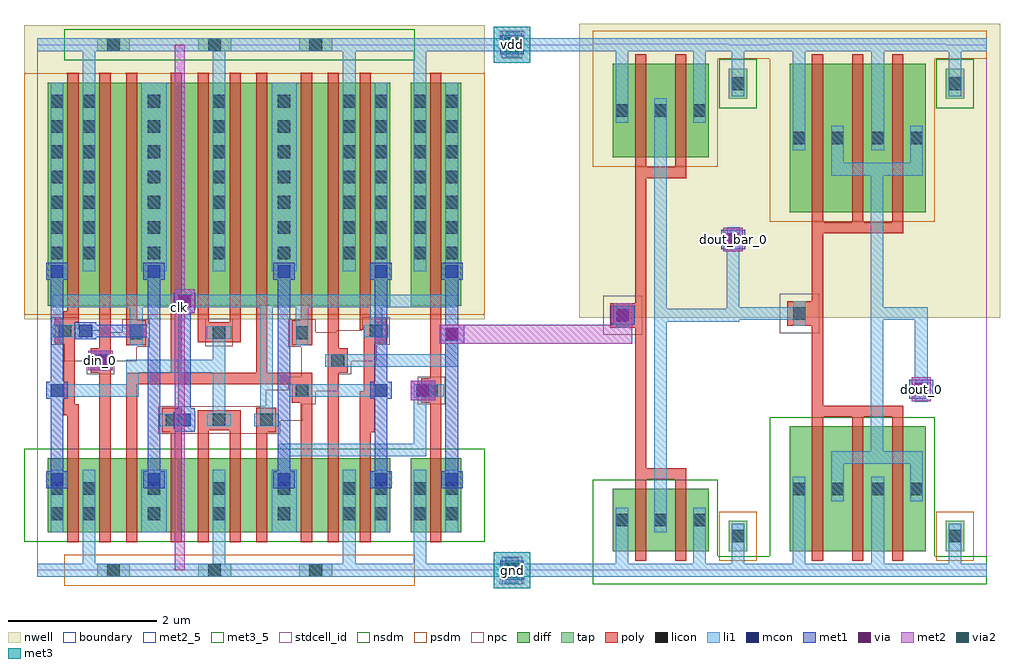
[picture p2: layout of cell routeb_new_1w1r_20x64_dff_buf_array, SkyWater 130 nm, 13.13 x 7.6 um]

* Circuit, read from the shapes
.subckt routeb_new_1w1r_20x64_dff_buf_array clk din_0 dout_0 dout_bar_0 gnd vdd
XM1 gnd n1 n2 gnd sky130_fd_pr__nfet_01v8 w=1 l=0.15
XM2 n3 din_0 gnd gnd sky130_fd_pr__nfet_01v8 w=1 l=0.15
XM3 n1 n4 n3 gnd sky130_fd_pr__nfet_01v8 w=1 l=0.15
XM4 n5 clk n1 gnd sky130_fd_pr__nfet_01v8 w=1 l=0.15
XM5 gnd n2 n5 gnd sky130_fd_pr__nfet_01v8 w=1 l=0.15
XM6 n6 n2 gnd gnd sky130_fd_pr__nfet_01v8 w=1 l=0.15
XM7 routeb_new_1w1r_20x64_dff_buf_0_0/sky130_fd_bd_sram__openram_dff_0/QN clk n6 gnd sky130_fd_pr__nfet_01v8 w=1 l=0.15
XM8 n7 n4 routeb_new_1w1r_20x64_dff_buf_0_0/sky130_fd_bd_sram__openram_dff_0/QN gnd sky130_fd_pr__nfet_01v8 w=1 l=0.15
XM9 gnd routeb_new_1w1r_20x64_dff_buf_0_0/routeb_new_1w1r_20x64_pinv_1/A n7 gnd sky130_fd_pr__nfet_01v8 w=1 l=0.15
XM10 n4 clk gnd gnd sky130_fd_pr__nfet_01v8 w=1 l=0.15
XM11 routeb_new_1w1r_20x64_dff_buf_0_0/routeb_new_1w1r_20x64_pinv_1/A routeb_new_1w1r_20x64_dff_buf_0_0/sky130_fd_bd_sram__openram_dff_0/QN gnd gnd sky130_fd_pr__nfet_01v8 w=1 l=0.15
XM12 dout_bar_0 routeb_new_1w1r_20x64_dff_buf_0_0/routeb_new_1w1r_20x64_pinv_1/A gnd gnd sky130_fd_pr__nfet_01v8 w=0.84 l=0.15 m=2
XM13 dout_0 dout_bar_0 gnd gnd sky130_fd_pr__nfet_01v8 w=1.68 l=0.15 m=3
XM14 vdd n1 n2 vdd sky130_fd_pr__pfet_01v8 w=3 l=0.15
XM15 n8 din_0 vdd vdd sky130_fd_pr__pfet_01v8 w=3 l=0.15
XM16 n1 clk n8 vdd sky130_fd_pr__pfet_01v8 w=3 l=0.15
XM17 n9 n4 n1 vdd sky130_fd_pr__pfet_01v8 w=3 l=0.15
XM18 vdd n2 n9 vdd sky130_fd_pr__pfet_01v8 w=3 l=0.15
XM19 n10 n2 vdd vdd sky130_fd_pr__pfet_01v8 w=3 l=0.15
XM20 routeb_new_1w1r_20x64_dff_buf_0_0/sky130_fd_bd_sram__openram_dff_0/QN n4 n10 vdd sky130_fd_pr__pfet_01v8 w=3 l=0.15
XM21 n11 clk routeb_new_1w1r_20x64_dff_buf_0_0/sky130_fd_bd_sram__openram_dff_0/QN vdd sky130_fd_pr__pfet_01v8 w=3 l=0.15
XM22 vdd routeb_new_1w1r_20x64_dff_buf_0_0/routeb_new_1w1r_20x64_pinv_1/A n11 vdd sky130_fd_pr__pfet_01v8 w=3 l=0.15
XM23 n4 clk vdd vdd sky130_fd_pr__pfet_01v8 w=3 l=0.15
XM24 routeb_new_1w1r_20x64_dff_buf_0_0/routeb_new_1w1r_20x64_pinv_1/A routeb_new_1w1r_20x64_dff_buf_0_0/sky130_fd_bd_sram__openram_dff_0/QN vdd vdd sky130_fd_pr__pfet_01v8 w=3 l=0.15
XM25 dout_bar_0 routeb_new_1w1r_20x64_dff_buf_0_0/routeb_new_1w1r_20x64_pinv_1/A vdd vdd sky130_fd_pr__pfet_01v8 w=1.26 l=0.15 m=2
XM26 dout_0 dout_bar_0 vdd vdd sky130_fd_pr__pfet_01v8 w=2 l=0.15 m=3
.ends

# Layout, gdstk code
import gdstk
lib = gdstk.Library(unit=1e-6, precision=1e-09)
def R(c, l, rs):  # rectangles x0, y0, x1, y1
    for r in rs: c.add(gdstk.rectangle(r[:2], r[2:], *l))
def A(c, l, x, y, w, h, nx, ny, dx, dy):  # array of equal rectangles
    R(c, l, [(x+i*dx, y+j*dy, x+i*dx+w, y+j*dy+h) for i in range(nx) for j in range(ny)])
nwell = (64, 20)
diff = (65, 20)
tap = (65, 44)
poly = (66, 20)
licon = (66, 44)
li1 = (67, 20)
mcon = (67, 44)
met1 = (68, 20)
via = (68, 44)
met2_5 = (69, 5)
met2 = (69, 20)
via2 = (69, 44)
met3_5 = (70, 5)
met3 = (70, 20)
stdcell_id = (81, 4)
nsdm = (93, 44)
psdm = (94, 20)
npc = (95, 20)
boundary = (235, 4)

sky130_fd_bd_sram__openr = lib.new_cell('sky130_fd_bd_sram__openram_dff')
R(sky130_fd_bd_sram__openr, nwell, [(-0.18,3.38,6.02,7.335)])
R(sky130_fd_bd_sram__openr, diff, [(0.14,0.51,4.75,1.51), (5.02,0.51,5.7,1.51), (0.14,3.56,4.75,6.56), (5.02,3.56,5.7,6.56)])
A(sky130_fd_bd_sram__openr, tap, 0.805, -0.085, 0.44, 0.17, 3, 2, 1.36, 7.07)
R(sky130_fd_bd_sram__openr, poly, [(0.405,0.38,0.555,2.085), (0.835,0.38,0.985,2.655), (1.195,0.38,1.345,2.505), (1.795,0.38,1.945,1.855), (2.155,0.38,2.305,1.885), (2.585,0.38,2.735,1.885), (2.945,0.38,3.095,1.855), (3.545,0.38,3.695,2.255), (3.905,0.38,4.055,2.655), (4.335,0.38,4.485,1.855), (5.285,0.38,5.435,2.255), (1.675,1.855,1.945,2.185), (2.945,1.855,3.215,2.185), (4.335,1.855,4.54,2.405), (2.155,1.885,2.735,2.155), (0.355,2.085,0.555,2.235), (0.355,2.235,0.505,3.055), (3.425,2.255,3.695,2.505), (5.165,2.255,5.435,2.585), (4.39,2.405,4.54,3.055), (1.195,2.505,3.695,2.655), (5.285,2.585,5.435,6.69), (0.715,2.655,0.985,2.985), (1.795,2.655,1.945,6.69), (2.945,2.655,3.095,6.69), (3.905,2.655,4.175,2.985), (0.835,2.985,0.985,6.69), (3.905,2.985,4.055,6.69), (1.195,3.03,1.465,3.36), (3.425,3.03,3.695,3.36), (0.235,3.055,0.505,3.335), (4.39,3.055,4.69,3.235), (2.155,3.065,2.735,3.335), (4.335,3.235,4.69,3.385), (0.235,3.335,0.555,3.385), (2.155,3.335,2.305,6.69), (2.585,3.335,2.735,6.69), (1.195,3.36,1.345,6.69), (3.545,3.36,3.695,6.69), (0.35,3.385,0.555,3.485), (4.335,3.385,4.485,6.69), (0.405,3.485,0.555,6.69)])
A(sky130_fd_bd_sram__openr, licon, 0.94, -0.085, 0.17, 0.17, 3, 2, 1.36, 7.07)
A(sky130_fd_bd_sram__openr, licon, 0.61, 0.675, 0.17, 0.17, 5, 2, 0.875, 0.34)
A(sky130_fd_bd_sram__openr, licon, 1.725, 1.935, 0.17, 0.17, 3, 1, 0.635, 0)
A(sky130_fd_bd_sram__openr, licon, 0.18, 4.185, 0.17, 0.17, 1, 7, 0, 0.34)
A(sky130_fd_bd_sram__openr, licon, 0.61, 4.185, 0.17, 0.17, 5, 7, 0.875, 0.34)
A(sky130_fd_bd_sram__openr, licon, 4.54, 4.185, 0.17, 0.17, 1, 7, 0, 0.34)
A(sky130_fd_bd_sram__openr, licon, 5.06, 4.185, 0.17, 0.17, 1, 7, 0, 0.34)
A(sky130_fd_bd_sram__openr, licon, 5.49, 4.185, 0.17, 0.17, 1, 7, 0, 0.34)
R(sky130_fd_bd_sram__openr, licon, [(0.18,0.675,0.35,0.845), (4.54,0.675,4.71,0.845), (5.06,0.675,5.23,0.845), (5.49,0.675,5.66,0.845), (0.18,1.015,0.35,1.185), (4.54,1.015,4.71,1.185), (5.06,1.015,5.23,1.185), (5.49,1.015,5.66,1.185), (3.475,2.335,3.645,2.505), (5.215,2.335,5.385,2.505), (0.765,2.735,0.935,2.905), (3.955,2.735,4.125,2.905), (1.245,3.11,1.415,3.28), (3.475,3.11,3.645,3.28), (2.36,3.115,2.53,3.285), (0.285,3.135,0.455,3.305), (4.47,3.135,4.64,3.305)])
A(sky130_fd_bd_sram__openr, li1, 0.61, 0.09, 0.17, 1.26, 3, 1, 1.75, 0)
A(sky130_fd_bd_sram__openr, li1, 0.61, 4.02, 0.17, 2.96, 3, 1, 1.75, 0)
R(sky130_fd_bd_sram__openr, li1, [(0,-0.09,5.84,0.09), (0,-0.09,5.84,0.09), (5.06,0.09,5.23,1.35), (0.18,0.51,0.35,1.35), (1.4,0.51,1.74,1.35), (3.15,0.51,3.49,1.35), (4.54,0.51,4.71,1.355), (5.49,0.51,5.66,1.355), (3.235,1.35,3.405,1.535), (3.235,1.535,5.23,1.705), (5.06,1.705,5.23,2.335), (1.64,1.935,2.065,2.105), (2.28,1.935,2.61,2.105), (2.915,1.935,3.245,2.105), (2.36,2.105,2.53,2.66), (2.995,2.105,3.165,3.535), (0.18,2.335,1.365,2.505), (3.395,2.335,4.71,2.505), (5.06,2.335,5.465,2.505), (1.195,2.505,1.365,2.66), (1.195,2.66,2.53,2.83), (0.685,2.735,1.015,2.905), (3.875,2.735,5.66,2.905), (2.36,2.83,2.53,3.115), (5.49,2.905,5.66,3.26), (1.245,3.03,1.415,3.535), (3.475,3.03,3.645,3.535), (2.28,3.115,2.61,3.285), (0.205,3.135,0.735,3.305), (4.39,3.135,4.72,3.305), (4.47,3.305,4.64,3.535), (0.205,3.535,5.66,3.705), (0.18,3.935,0.35,6.56), (1.485,3.935,1.655,4.02), (3.235,3.935,3.405,4.02), (4.54,3.935,4.71,6.56), (5.49,3.935,5.66,6.56), (1.4,4.02,1.74,6.56), (3.15,4.02,3.49,6.56), (5.06,4.02,5.23,6.98), (0,6.98,5.84,7.16), (0,6.98,5.84,7.16), (0,6.98,5.84,7.16)])
R(sky130_fd_bd_sram__openr, mcon, [(0.18,1.135,0.35,1.305), (1.485,1.135,1.655,1.305), (3.235,1.135,3.405,1.305), (4.54,1.135,4.71,1.305), (5.49,1.135,5.66,1.305), (1.895,1.935,2.065,2.105), (0.18,2.335,0.35,2.505), (4.54,2.335,4.71,2.505), (5.1,2.335,5.27,2.505), (0.765,2.735,0.935,2.905), (5.49,3.09,5.66,3.26), (0.565,3.135,0.735,3.305), (1.895,3.535,2.065,3.705), (0.18,3.935,0.35,4.105), (1.485,3.935,1.655,4.105), (3.235,3.935,3.405,4.105), (4.54,3.935,4.71,4.105), (5.49,3.935,5.66,4.105)])
R(sky130_fd_bd_sram__openr, met1, [(0.12,1.105,0.41,1.335), (1.425,1.105,1.715,1.335), (3.175,1.105,3.465,1.335), (4.48,1.105,4.77,1.335), (5.43,1.105,5.72,1.335), (0.18,1.335,0.35,2.305), (1.485,1.335,1.655,3.135), (3.235,1.335,3.405,3.905), (4.54,1.335,4.71,2.305), (5.49,1.335,5.66,3.045), (1.845,1.86,2.115,1.905), (1.835,1.905,2.125,2.135), (1.845,2.135,2.115,2.18), (1.895,2.18,2.065,3.46), (5.02,2.29,5.35,2.55), (0.12,2.305,0.41,2.535), (4.48,2.305,4.77,2.535), (0.18,2.535,0.35,3.905), (4.54,2.535,4.71,3.905), (0.685,2.69,1.015,2.95), (5.41,3.045,5.74,3.305), (0.505,3.105,0.795,3.135), (0.505,3.135,1.655,3.305), (0.505,3.305,0.795,3.335), (1.485,3.305,1.655,3.905), (5.49,3.305,5.66,3.905), (1.845,3.46,2.115,3.505), (1.835,3.505,2.125,3.735), (1.845,3.735,2.115,3.78), (0.12,3.905,0.41,4.135), (1.425,3.905,1.715,4.135), (3.175,3.905,3.465,4.135), (4.48,3.905,4.77,4.135), (5.43,3.905,5.72,4.135)])
R(sky130_fd_bd_sram__openr, via, [(5.11,2.345,5.26,2.495), (0.775,2.745,0.925,2.895), (5.5,3.1,5.65,3.25), (1.905,3.545,2.055,3.695)])
R(sky130_fd_bd_sram__openr, met2_5, [(0.685,2.69,1.015,2.95), (5.41,3.045,5.74,3.305), (1.845,3.46,2.115,3.78)])
R(sky130_fd_bd_sram__openr, met2, [(5.02,2.29,5.35,2.55), (0.685,2.69,1.015,2.95), (0.685,2.69,1.015,2.95), (0.685,2.69,1.015,2.95), (5.41,3.045,5.74,3.305), (5.41,3.045,5.74,3.305), (5.41,3.045,5.74,3.305), (1.845,3.46,2.115,3.78), (1.845,3.46,2.115,3.78), (1.845,3.46,2.115,3.78)])
R(sky130_fd_bd_sram__openr, stdcell_id, [(0,0,5.84,7.07)])
R(sky130_fd_bd_sram__openr, nsdm, [(-0.18,0.385,6.02,1.635), (0.36,6.86,5.075,7.07), (0.36,7.07,5.075,7.28)])
R(sky130_fd_bd_sram__openr, psdm, [(0.36,-0.21,5.075,0), (0.36,0,5.075,0.21), (-0.18,3.435,6.02,6.685)])
R(sky130_fd_bd_sram__openr, npc, [(1.625,1.835,3.265,2.01), (1.625,2.01,3.57,2.205), (3.07,2.205,3.57,2.235), (3.07,2.235,3.745,2.41), (5.115,2.235,5.485,2.605), (3.07,2.41,4.05,2.43), (3.375,2.43,4.05,2.605), (3.55,2.605,4.05,2.635), (0.665,2.635,1.035,2.81), (3.55,2.635,4.225,2.81), (0.36,2.81,1.34,3.01), (3.55,2.81,4.565,3.01), (0.36,3.01,1.515,3.035), (3.375,3.01,4.565,3.035), (2.26,3.015,2.63,3.385), (0.185,3.035,1.515,3.205), (3.375,3.035,4.74,3.205), (0.185,3.205,0.86,3.23), (1.145,3.205,1.515,3.38), (3.375,3.205,3.745,3.38), (4.03,3.205,4.74,3.23), (0.185,3.23,0.555,3.405), (4.37,3.23,4.74,3.405)])
R(sky130_fd_bd_sram__openr, boundary, [(0,0,5.84,7.07)])
sky130_fd_bd_sram__openr.add(gdstk.Label('QN', (5.035,2.52), layer=69, texttype=5))
sky130_fd_bd_sram__openr.add(gdstk.Label('CLK', (1.98,3.62), layer=69, texttype=5))
sky130_fd_bd_sram__openr.add(gdstk.Label('D', (0.85,2.82), layer=69, texttype=5))
sky130_fd_bd_sram__openr.add(gdstk.Label('Q', (5.575,3.175), layer=69, texttype=5))
sky130_fd_bd_sram__openr.add(gdstk.Label('VDD', (2.74,7.08), layer=67, texttype=5))
sky130_fd_bd_sram__openr.add(gdstk.Label('GND', (2.72,0), layer=67, texttype=5))
sky130_fd_bd_sram__openr.add(gdstk.Label('D', (0.85,2.82), layer=69, texttype=5))
sky130_fd_bd_sram__openr.add(gdstk.Label('Q', (5.575,3.175), layer=69, texttype=5))
sky130_fd_bd_sram__openr.add(gdstk.Label('clk', (1.98,3.62), layer=69, texttype=5))
sky130_fd_bd_sram__openr.add(gdstk.Label('vdd', (2.92,7.07), layer=67, texttype=5))
sky130_fd_bd_sram__openr.add(gdstk.Label('gnd', (2.92,0), layer=67, texttype=5))

routeb_new_1w1r_20x64_co = lib.new_cell('routeb_new_1w1r_20x64_contact_11')
R(routeb_new_1w1r_20x64_co, nwell, [(-0.295,-0.255,0.545,0.585)])
R(routeb_new_1w1r_20x64_co, diff, [(0,0.02,0.25,0.31)])
R(routeb_new_1w1r_20x64_co, licon, [(0.04,0.08,0.21,0.25)])
R(routeb_new_1w1r_20x64_co, li1, [(0.04,0,0.21,0.33)])
R(routeb_new_1w1r_20x64_co, stdcell_id, [(-0.295,-0.255,0.545,0.585)])
R(routeb_new_1w1r_20x64_co, psdm, [(-0.125,-0.105,0.375,0.435)])
R(routeb_new_1w1r_20x64_co, boundary, [(-0.295,-0.255,0.545,0.585)])

routeb_new_1w1r_20x64_pm = lib.new_cell('routeb_new_1w1r_20x64_pmos_m2_w1_260_sli_dli_da_p')
R(routeb_new_1w1r_20x64_pm, nwell, [(-0.27,-0.27,1.56,1.53)])
R(routeb_new_1w1r_20x64_pm, diff, [(0,0,1.29,1.26)])
R(routeb_new_1w1r_20x64_pm, poly, [(0.3,-0.28,0.99,-0.13), (0.3,-0.13,0.45,1.39), (0.84,-0.13,0.99,1.39)])
A(routeb_new_1w1r_20x64_pm, li1, 0.04, 0.465, 0.17, 0.33, 3, 1, 0.52, 0)
R(routeb_new_1w1r_20x64_pm, stdcell_id, [(-0.27,-0.28,1.56,1.53)])
R(routeb_new_1w1r_20x64_pm, psdm, [(-0.125,-0.125,1.415,1.385)])
R(routeb_new_1w1r_20x64_pm, boundary, [(-0.27,-0.28,1.56,1.53)])
routeb_new_1w1r_20x64_pm.add(gdstk.Reference(routeb_new_1w1r_20x64_co, (0,0.465)))
routeb_new_1w1r_20x64_pm.add(gdstk.Reference(routeb_new_1w1r_20x64_co, (0.52,0.465)))
routeb_new_1w1r_20x64_pm.add(gdstk.Reference(routeb_new_1w1r_20x64_co, (1.04,0.465)))
routeb_new_1w1r_20x64_pm.add(gdstk.Label('G', (0.645,-0.205), layer=66, texttype=5))
routeb_new_1w1r_20x64_pm.add(gdstk.Label('S', (1.165,0.63), layer=67, texttype=5))
routeb_new_1w1r_20x64_pm.add(gdstk.Label('S', (0.125,0.63), layer=67, texttype=5))
routeb_new_1w1r_20x64_pm.add(gdstk.Label('D', (0.645,0.63), layer=67, texttype=5))

c_routeb_new_1w1r_20x64_co = lib.new_cell('routeb_new_1w1r_20x64_contact_10')
R(c_routeb_new_1w1r_20x64_co, diff, [(0,0.02,0.25,0.31)])
R(c_routeb_new_1w1r_20x64_co, licon, [(0.04,0.08,0.21,0.25)])
R(c_routeb_new_1w1r_20x64_co, li1, [(0.04,0,0.21,0.33)])
R(c_routeb_new_1w1r_20x64_co, stdcell_id, [(-0.125,-0.105,0.375,0.435)])
R(c_routeb_new_1w1r_20x64_co, nsdm, [(-0.125,-0.105,0.375,0.435)])
R(c_routeb_new_1w1r_20x64_co, boundary, [(-0.125,-0.105,0.375,0.435)])

routeb_new_1w1r_20x64_nm = lib.new_cell('routeb_new_1w1r_20x64_nmos_m2_w0_840_sli_dli_da_p')
R(routeb_new_1w1r_20x64_nm, diff, [(0,0,1.29,0.84)])
R(routeb_new_1w1r_20x64_nm, poly, [(0.3,-0.13,0.45,0.97), (0.84,-0.13,0.99,0.97), (0.3,0.97,0.99,1.12)])
A(routeb_new_1w1r_20x64_nm, li1, 0.04, 0.255, 0.17, 0.33, 3, 1, 0.52, 0)
R(routeb_new_1w1r_20x64_nm, stdcell_id, [(-0.125,-0.13,1.415,1.12)])
R(routeb_new_1w1r_20x64_nm, nsdm, [(-0.125,-0.125,1.415,0.965)])
R(routeb_new_1w1r_20x64_nm, boundary, [(-0.125,-0.13,1.415,1.12)])
routeb_new_1w1r_20x64_nm.add(gdstk.Reference(c_routeb_new_1w1r_20x64_co, (0,0.255)))
routeb_new_1w1r_20x64_nm.add(gdstk.Reference(c_routeb_new_1w1r_20x64_co, (0.52,0.255)))
routeb_new_1w1r_20x64_nm.add(gdstk.Reference(c_routeb_new_1w1r_20x64_co, (1.04,0.255)))
routeb_new_1w1r_20x64_nm.add(gdstk.Label('G', (0.645,1.045), layer=66, texttype=5))
routeb_new_1w1r_20x64_nm.add(gdstk.Label('S', (1.165,0.42), layer=67, texttype=5))
routeb_new_1w1r_20x64_nm.add(gdstk.Label('S', (0.125,0.42), layer=67, texttype=5))
routeb_new_1w1r_20x64_nm.add(gdstk.Label('D', (0.645,0.42), layer=67, texttype=5))

c_routeb_new_1w1r_20x64_co_ = lib.new_cell('routeb_new_1w1r_20x64_contact_24')
R(c_routeb_new_1w1r_20x64_co_, nwell, [(-0.295,-0.215,0.545,0.625)])
R(c_routeb_new_1w1r_20x64_co_, tap, [(0,0,0.25,0.41)])
R(c_routeb_new_1w1r_20x64_co_, licon, [(0.04,0.12,0.21,0.29)])
R(c_routeb_new_1w1r_20x64_co_, li1, [(0.04,0.04,0.21,0.37)])
R(c_routeb_new_1w1r_20x64_co_, stdcell_id, [(-0.295,-0.215,0.545,0.625)])
R(c_routeb_new_1w1r_20x64_co_, nsdm, [(-0.125,-0.125,0.375,0.535)])
R(c_routeb_new_1w1r_20x64_co_, boundary, [(-0.295,-0.215,0.545,0.625)])

c_routeb_new_1w1r_20x64_co__ = lib.new_cell('routeb_new_1w1r_20x64_contact_25')
R(c_routeb_new_1w1r_20x64_co__, tap, [(0,0,0.25,0.41)])
R(c_routeb_new_1w1r_20x64_co__, licon, [(0.04,0.12,0.21,0.29)])
R(c_routeb_new_1w1r_20x64_co__, li1, [(0.04,0.04,0.21,0.37)])
R(c_routeb_new_1w1r_20x64_co__, stdcell_id, [(-0.125,-0.125,0.375,0.535)])
R(c_routeb_new_1w1r_20x64_co__, psdm, [(-0.125,-0.125,0.375,0.535)])
R(c_routeb_new_1w1r_20x64_co__, boundary, [(-0.125,-0.125,0.375,0.535)])

c_routeb_new_1w1r_20x64_co___ = lib.new_cell('routeb_new_1w1r_20x64_contact_15')
R(c_routeb_new_1w1r_20x64_co___, poly, [(0,0,0.33,0.33)])
R(c_routeb_new_1w1r_20x64_co___, licon, [(0.08,0.08,0.25,0.25)])
R(c_routeb_new_1w1r_20x64_co___, li1, [(0.08,0,0.25,0.33)])
R(c_routeb_new_1w1r_20x64_co___, stdcell_id, [(-0.1,-0.1,0.43,0.43)])
R(c_routeb_new_1w1r_20x64_co___, npc, [(-0.1,-0.1,0.43,0.43)])
R(c_routeb_new_1w1r_20x64_co___, boundary, [(-0.1,-0.1,0.43,0.43)])

routeb_new_1w1r_20x64_pi = lib.new_cell('routeb_new_1w1r_20x64_pinv')
R(routeb_new_1w1r_20x64_pi, nwell, [(-0.18,3.395,2.56,7.355)])
R(routeb_new_1w1r_20x64_pi, poly, [(0.57,1.375,0.72,5.275), (0.405,3.265,0.57,3.595)])
R(routeb_new_1w1r_20x64_pi, li1, [(0,-0.085,2.38,0.085), (0.31,-0.085,0.48,0.51), (1.35,-0.085,1.52,0.51), (1.87,0,2.04,0.46), (0.83,0.51,1,6.35), (0.32,3.265,0.49,3.595), (0.915,3.345,1.085,3.515), (0.31,6.02,0.48,7.155), (1.35,6.02,1.52,7.155), (1.87,6.545,2.04,7.07), (0,6.985,2.38,7.155)])
R(routeb_new_1w1r_20x64_pi, stdcell_id, [(0,0,2.38,7.07), (0,0,2.38,7.07)])
R(routeb_new_1w1r_20x64_pi, nsdm, [(0,-0.19,2.38,0.19), (0,0,1.685,1.22)])
R(routeb_new_1w1r_20x64_pi, psdm, [(0,5.43,1.685,7.07), (0,6.88,2.38,7.26)])
R(routeb_new_1w1r_20x64_pi, boundary, [(0,0,2.38,7.07), (0,0,2.38,7.07)])
routeb_new_1w1r_20x64_pi.add(gdstk.Reference(routeb_new_1w1r_20x64_pm, (0.27,5.555)))
routeb_new_1w1r_20x64_pi.add(gdstk.Reference(routeb_new_1w1r_20x64_nm, (0.27,0.255)))
routeb_new_1w1r_20x64_pi.add(gdstk.Reference(c_routeb_new_1w1r_20x64_co_, (1.83,6.34)))
routeb_new_1w1r_20x64_pi.add(gdstk.Reference(c_routeb_new_1w1r_20x64_co__, (1.83,0.255)))
routeb_new_1w1r_20x64_pi.add(gdstk.Reference(c_routeb_new_1w1r_20x64_co___, (0.24,3.265)))
routeb_new_1w1r_20x64_pi.add(gdstk.Label('A', (0.405,3.43), layer=67, texttype=5))
routeb_new_1w1r_20x64_pi.add(gdstk.Label('Z', (1,3.43), layer=67, texttype=5))
routeb_new_1w1r_20x64_pi.add(gdstk.Label('gnd', (1.19,0), layer=67, texttype=5))
routeb_new_1w1r_20x64_pi.add(gdstk.Label('vdd', (1.19,7.07), layer=67, texttype=5))

c_routeb_new_1w1r_20x64_pm = lib.new_cell('routeb_new_1w1r_20x64_pmos_m3_w2_000_sli_dli_da_p')
R(c_routeb_new_1w1r_20x64_pm, nwell, [(-0.27,-0.27,2.1,2.27)])
R(c_routeb_new_1w1r_20x64_pm, diff, [(0,0,1.83,2)])
A(c_routeb_new_1w1r_20x64_pm, poly, 0.3, -0.13, 0.15, 2.26, 3, 1, 0.54, 0)
R(c_routeb_new_1w1r_20x64_pm, poly, [(0.3,-0.28,1.53,-0.13)])
R(c_routeb_new_1w1r_20x64_pm, li1, [(0.56,0.495,1.79,0.665), (0.56,0.58,0.73,1), (1.62,0.58,1.79,1), (0.04,0.835,0.21,1.165), (1.1,0.835,1.27,1.165)])
R(c_routeb_new_1w1r_20x64_pm, stdcell_id, [(-0.27,-0.28,2.1,2.27)])
R(c_routeb_new_1w1r_20x64_pm, psdm, [(-0.125,-0.125,1.955,2.125)])
R(c_routeb_new_1w1r_20x64_pm, boundary, [(-0.27,-0.28,2.1,2.27)])
c_routeb_new_1w1r_20x64_pm.add(gdstk.Reference(routeb_new_1w1r_20x64_co, (0,0.835)))
c_routeb_new_1w1r_20x64_pm.add(gdstk.Reference(routeb_new_1w1r_20x64_co, (0.52,0.835)))
c_routeb_new_1w1r_20x64_pm.add(gdstk.Reference(routeb_new_1w1r_20x64_co, (1.06,0.835)))
c_routeb_new_1w1r_20x64_pm.add(gdstk.Reference(routeb_new_1w1r_20x64_co, (1.58,0.835)))
c_routeb_new_1w1r_20x64_pm.add(gdstk.Label('G', (0.915,-0.205), layer=66, texttype=5))
c_routeb_new_1w1r_20x64_pm.add(gdstk.Label('S', (1.185,1), layer=67, texttype=5))
c_routeb_new_1w1r_20x64_pm.add(gdstk.Label('S', (0.125,1), layer=67, texttype=5))
c_routeb_new_1w1r_20x64_pm.add(gdstk.Label('D', (1.175,0.58), layer=67, texttype=5))

c_routeb_new_1w1r_20x64_nm = lib.new_cell('routeb_new_1w1r_20x64_nmos_m3_w1_680_sli_dli_da_p')
R(c_routeb_new_1w1r_20x64_nm, diff, [(0,0,1.83,1.68)])
A(c_routeb_new_1w1r_20x64_nm, poly, 0.3, -0.13, 0.15, 1.94, 3, 1, 0.54, 0)
R(c_routeb_new_1w1r_20x64_nm, poly, [(0.3,1.81,1.53,1.96)])
R(c_routeb_new_1w1r_20x64_nm, li1, [(0.04,0.675,0.21,1.005), (1.1,0.675,1.27,1.005), (0.56,0.84,0.73,1.26), (1.62,0.84,1.79,1.26), (0.56,1.175,1.79,1.345)])
R(c_routeb_new_1w1r_20x64_nm, stdcell_id, [(-0.125,-0.13,1.955,1.96)])
R(c_routeb_new_1w1r_20x64_nm, nsdm, [(-0.125,-0.125,1.955,1.805)])
R(c_routeb_new_1w1r_20x64_nm, boundary, [(-0.125,-0.13,1.955,1.96)])
c_routeb_new_1w1r_20x64_nm.add(gdstk.Reference(c_routeb_new_1w1r_20x64_co, (0,0.675)))
c_routeb_new_1w1r_20x64_nm.add(gdstk.Reference(c_routeb_new_1w1r_20x64_co, (0.52,0.675)))
c_routeb_new_1w1r_20x64_nm.add(gdstk.Reference(c_routeb_new_1w1r_20x64_co, (1.06,0.675)))
c_routeb_new_1w1r_20x64_nm.add(gdstk.Reference(c_routeb_new_1w1r_20x64_co, (1.58,0.675)))
c_routeb_new_1w1r_20x64_nm.add(gdstk.Label('G', (0.915,1.885), layer=66, texttype=5))
c_routeb_new_1w1r_20x64_nm.add(gdstk.Label('S', (0.125,0.84), layer=67, texttype=5))
c_routeb_new_1w1r_20x64_nm.add(gdstk.Label('S', (1.185,0.84), layer=67, texttype=5))
c_routeb_new_1w1r_20x64_nm.add(gdstk.Label('D', (1.175,1.26), layer=67, texttype=5))

c_routeb_new_1w1r_20x64_pi = lib.new_cell('routeb_new_1w1r_20x64_pinv_0')
R(c_routeb_new_1w1r_20x64_pi, nwell, [(-0.18,3.395,3.1,7.355)])
R(c_routeb_new_1w1r_20x64_pi, poly, [(0.57,2.215,0.72,4.535), (0.405,3.29,0.57,3.62)])
R(c_routeb_new_1w1r_20x64_pi, li1, [(0,-0.085,2.92,0.085), (0.31,-0.085,0.48,0.93), (1.37,-0.085,1.54,0.93), (2.41,0,2.58,0.46), (1.36,1.43,1.53,5.48), (0.32,3.29,0.49,3.62), (1.445,3.37,1.615,3.54), (0.31,5.65,0.48,7.155), (1.37,5.65,1.54,7.155), (2.41,6.545,2.58,7.07), (0,6.985,2.92,7.155)])
R(c_routeb_new_1w1r_20x64_pi, stdcell_id, [(0,0,2.92,7.07), (0,0,2.92,7.07)])
R(c_routeb_new_1w1r_20x64_pi, nsdm, [(0,-0.19,2.92,0.19), (0,0,2.225,2.06)])
R(c_routeb_new_1w1r_20x64_pi, psdm, [(0,4.69,2.225,7.07), (0,6.88,2.92,7.26)])
R(c_routeb_new_1w1r_20x64_pi, boundary, [(0,0,2.92,7.07), (0,0,2.92,7.07)])
c_routeb_new_1w1r_20x64_pi.add(gdstk.Reference(c_routeb_new_1w1r_20x64_pm, (0.27,4.815)))
c_routeb_new_1w1r_20x64_pi.add(gdstk.Reference(c_routeb_new_1w1r_20x64_nm, (0.27,0.255)))
c_routeb_new_1w1r_20x64_pi.add(gdstk.Reference(c_routeb_new_1w1r_20x64_co_, (2.37,6.34)))
c_routeb_new_1w1r_20x64_pi.add(gdstk.Reference(c_routeb_new_1w1r_20x64_co__, (2.37,0.255)))
c_routeb_new_1w1r_20x64_pi.add(gdstk.Reference(c_routeb_new_1w1r_20x64_co___, (0.24,3.29)))
c_routeb_new_1w1r_20x64_pi.add(gdstk.Label('A', (0.405,3.455), layer=67, texttype=5))
c_routeb_new_1w1r_20x64_pi.add(gdstk.Label('Z', (1.53,3.455), layer=67, texttype=5))
c_routeb_new_1w1r_20x64_pi.add(gdstk.Label('gnd', (1.46,0), layer=67, texttype=5))
c_routeb_new_1w1r_20x64_pi.add(gdstk.Label('vdd', (1.46,7.07), layer=67, texttype=5))

c_routeb_new_1w1r_20x64_co____ = lib.new_cell('routeb_new_1w1r_20x64_contact_13')
R(c_routeb_new_1w1r_20x64_co____, li1, [(0.06,0,0.23,0.33)])
R(c_routeb_new_1w1r_20x64_co____, mcon, [(0.06,0.08,0.23,0.25)])
R(c_routeb_new_1w1r_20x64_co____, met1, [(0,0.05,0.29,0.28)])
R(c_routeb_new_1w1r_20x64_co____, stdcell_id, [(0,0,0.29,0.33)])
R(c_routeb_new_1w1r_20x64_co____, boundary, [(0,0,0.29,0.33)])

c_routeb_new_1w1r_20x64_co_____ = lib.new_cell('routeb_new_1w1r_20x64_contact_18')
R(c_routeb_new_1w1r_20x64_co_____, met1, [(0,0.03,0.32,0.29)])
R(c_routeb_new_1w1r_20x64_co_____, via, [(0.085,0.085,0.235,0.235)])
R(c_routeb_new_1w1r_20x64_co_____, met2, [(0.03,0,0.29,0.32)])
R(c_routeb_new_1w1r_20x64_co_____, stdcell_id, [(0,0,0.32,0.32)])
R(c_routeb_new_1w1r_20x64_co_____, boundary, [(0,0,0.32,0.32)])

routeb_new_1w1r_20x64_df = lib.new_cell('routeb_new_1w1r_20x64_dff_buf_0')
R(routeb_new_1w1r_20x64_df, li1, [(0,-0.09,12.77,0.09), (11.805,2.435,11.975,3.455), (8.47,3.345,9.36,3.515), (9.275,3.345,9.445,3.515), (9.275,3.37,9.445,3.54), (9.36,3.37,10.255,3.54), (11.38,3.37,11.89,3.54), (11.805,3.37,11.975,3.54), (9.275,3.43,9.445,3.455), (9.275,3.43,9.445,4.45), (0,6.98,12.77,7.16)])
R(routeb_new_1w1r_20x64_df, met1, [(11.73,2.305,12.05,2.565), (7.715,3.3,8.035,3.56), (9.2,4.32,9.52,4.58)])
R(routeb_new_1w1r_20x64_df, met2_5, [(11.82,2.365,11.96,2.505), (0.685,2.69,1.015,2.95), (1.845,3.46,2.115,3.78), (9.29,4.38,9.43,4.52)])
R(routeb_new_1w1r_20x64_df, met2, [(11.82,2.365,11.96,2.505), (0.685,2.69,1.015,2.95), (5.575,3.045,7.875,3.305), (7.745,3.045,8.005,3.305), (7.745,3.175,8.005,3.43), (1.845,3.46,2.115,3.78), (9.29,4.38,9.43,4.52)])
R(routeb_new_1w1r_20x64_df, stdcell_id, [(0,0,12.77,7.07)])
R(routeb_new_1w1r_20x64_df, boundary, [(0,0,12.77,7.07)])
routeb_new_1w1r_20x64_df.add(gdstk.Reference(sky130_fd_bd_sram__openr, (0,0)))
routeb_new_1w1r_20x64_df.add(gdstk.Reference(routeb_new_1w1r_20x64_pi, (7.47,0)))
routeb_new_1w1r_20x64_df.add(gdstk.Reference(c_routeb_new_1w1r_20x64_pi, (9.85,0)))
routeb_new_1w1r_20x64_df.add(gdstk.Reference(c_routeb_new_1w1r_20x64_co____, (7.73,3.265)))
routeb_new_1w1r_20x64_df.add(gdstk.Reference(c_routeb_new_1w1r_20x64_co_____, (7.715,3.27)))
routeb_new_1w1r_20x64_df.add(gdstk.Reference(c_routeb_new_1w1r_20x64_co____, (11.745,2.27)))
routeb_new_1w1r_20x64_df.add(gdstk.Reference(c_routeb_new_1w1r_20x64_co_____, (11.73,2.275)))
routeb_new_1w1r_20x64_df.add(gdstk.Reference(c_routeb_new_1w1r_20x64_co____, (9.22,4.285)))
routeb_new_1w1r_20x64_df.add(gdstk.Reference(c_routeb_new_1w1r_20x64_co_____, (9.2,4.29)))
routeb_new_1w1r_20x64_df.add(gdstk.Label('vdd', (6.385,7.07), layer=67, texttype=5))
routeb_new_1w1r_20x64_df.add(gdstk.Label('gnd', (6.385,0), layer=67, texttype=5))
routeb_new_1w1r_20x64_df.add(gdstk.Label('clk', (1.98,3.62), layer=69, texttype=5))
routeb_new_1w1r_20x64_df.add(gdstk.Label('D', (0.85,2.82), layer=69, texttype=5))
routeb_new_1w1r_20x64_df.add(gdstk.Label('Q', (11.89,2.435), layer=69, texttype=5))
routeb_new_1w1r_20x64_df.add(gdstk.Label('Qb', (9.36,4.45), layer=69, texttype=5))

c_routeb_new_1w1r_20x64_co______ = lib.new_cell('routeb_new_1w1r_20x64_contact_21')
R(c_routeb_new_1w1r_20x64_co______, met2, [(0.025,0,0.305,0.37)])
R(c_routeb_new_1w1r_20x64_co______, via2, [(0.065,0.085,0.265,0.285)])
R(c_routeb_new_1w1r_20x64_co______, met3, [(0,0.02,0.33,0.35)])
R(c_routeb_new_1w1r_20x64_co______, stdcell_id, [(0,0,0.33,0.37)])
R(c_routeb_new_1w1r_20x64_co______, boundary, [(0,0,0.33,0.37)])

c_routeb_new_1w1r_20x64_df = lib.new_cell('routeb_new_1w1r_20x64_dff_buf_array')
R(c_routeb_new_1w1r_20x64_df, li1, [(0,-0.09,12.77,0.09), (0,6.98,12.77,7.16)])
R(c_routeb_new_1w1r_20x64_df, met1, [(6.225,-0.13,6.545,0.13), (6.225,6.94,6.545,7.2)])
R(c_routeb_new_1w1r_20x64_df, met2_5, [(1.845,0,1.985,7.07), (11.82,2.365,11.96,2.505), (0.685,2.69,1.015,2.95), (9.29,4.38,9.43,4.52)])
R(c_routeb_new_1w1r_20x64_df, met2, [(6.245,-0.12,6.525,0.125), (1.845,0,1.985,7.07), (11.82,2.365,11.96,2.505), (0.685,2.69,1.015,2.95), (9.29,4.38,9.43,4.52), (6.245,6.95,6.525,7.195)])
R(c_routeb_new_1w1r_20x64_df, met3_5, [(6.14,-0.245,6.63,0.245), (6.14,6.825,6.63,7.315)])
R(c_routeb_new_1w1r_20x64_df, met3, [(6.14,-0.245,6.63,0.245), (6.14,6.825,6.63,7.315)])
R(c_routeb_new_1w1r_20x64_df, stdcell_id, [(0,0,12.77,7.07)])
R(c_routeb_new_1w1r_20x64_df, boundary, [(0,0,12.77,7.07)])
c_routeb_new_1w1r_20x64_df.add(gdstk.Reference(routeb_new_1w1r_20x64_df, (0,0)))
c_routeb_new_1w1r_20x64_df.add(gdstk.Reference(c_routeb_new_1w1r_20x64_co____, (6.24,6.905)))
c_routeb_new_1w1r_20x64_df.add(gdstk.Reference(c_routeb_new_1w1r_20x64_co_____, (6.225,6.91)))
c_routeb_new_1w1r_20x64_df.add(gdstk.Reference(c_routeb_new_1w1r_20x64_co______, (6.22,6.885)))
c_routeb_new_1w1r_20x64_df.add(gdstk.Reference(c_routeb_new_1w1r_20x64_co____, (6.24,-0.165)))
c_routeb_new_1w1r_20x64_df.add(gdstk.Reference(c_routeb_new_1w1r_20x64_co_____, (6.225,-0.16)))
c_routeb_new_1w1r_20x64_df.add(gdstk.Reference(c_routeb_new_1w1r_20x64_co______, (6.22,-0.185)))
c_routeb_new_1w1r_20x64_df.add(gdstk.Label('vdd', (6.385,7.07), layer=70, texttype=5))
c_routeb_new_1w1r_20x64_df.add(gdstk.Label('gnd', (6.385,0), layer=70, texttype=5))
c_routeb_new_1w1r_20x64_df.add(gdstk.Label('din_0', (0.85,2.82), layer=69, texttype=5))
c_routeb_new_1w1r_20x64_df.add(gdstk.Label('dout_0', (11.89,2.435), layer=69, texttype=5))
c_routeb_new_1w1r_20x64_df.add(gdstk.Label('dout_bar_0', (9.36,4.45), layer=69, texttype=5))
c_routeb_new_1w1r_20x64_df.add(gdstk.Label('clk', (1.915,3.535), layer=69, texttype=5))

lib.write_gds('routeb_new_1w1r_20x64_dff_buf_array.gds')
